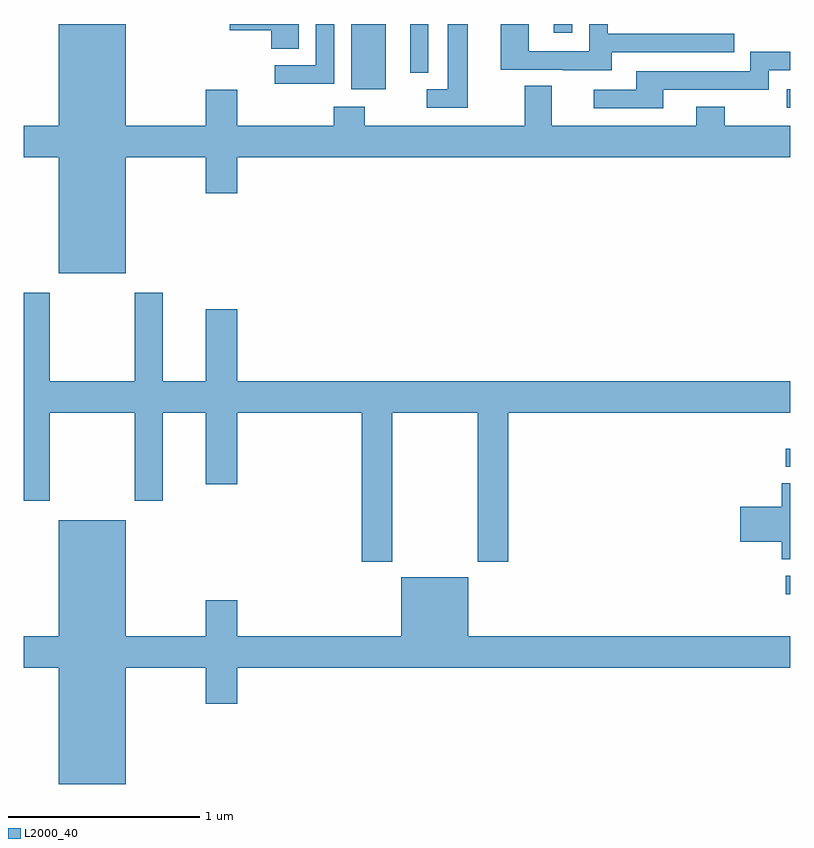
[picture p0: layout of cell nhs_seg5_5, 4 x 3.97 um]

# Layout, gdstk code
import gdstk
lib = gdstk.Library(unit=1e-6, precision=1e-09)
def R(c, l, rs):  # rectangles x0, y0, x1, y1
    for r in rs: c.add(gdstk.rectangle(r[:2], r[2:], *l))
def P(c, l, *ps):  # polygons
    for p in ps: c.add(gdstk.Polygon(p, *l))
L2000_40 = (2000, 40)

nhs_seg5_5 = lib.new_cell('nhs_seg5_5')
R(nhs_seg5_5, L2000_40, [(114.975,843.823,115,843.921), (114.975,844.488,115,844.584), (114.981,846.363,115,846.459), (112.709,846.458,112.888,846.799), (113.765,846.753,113.862,846.799)])
P(nhs_seg5_5, L2000_40, [(113.317,846.799),(113.213,846.799),(113.213,846.459),(113.103,846.459),(113.103,846.363),(113.317,846.363)],
  [(113.112,846.799),(113.018,846.799),(113.018,846.698),(113.016,846.698),(113.016,846.544),(113.112,846.544)],
  [(112.62,846.799),(112.524,846.799),(112.524,846.585),(112.311,846.585),(112.311,846.487),(112.62,846.487)],
  [(114.067,846.651),(114.707,846.651),(114.707,846.747),(114.048,846.747),(114.048,846.799),(113.952,846.799),(113.952,846.657),(113.634,846.657),(113.634,846.799),(113.489,846.799),(113.489,846.561),(113.813,846.561),(113.813,846.557),(114.067,846.557)],
  [(112.435,846.799),(112.074,846.799),(112.074,846.766),(112.292,846.766),(112.292,846.67),(112.435,846.67)],
  [(111.532,846.104),(111.95,846.104),(111.95,845.916),(112.114,845.916),(112.114,846.104),(115,846.104),(115,846.268),(114.657,846.268),(114.657,846.367),(114.509,846.367),(114.509,846.268),(113.755,846.268),(113.755,846.476),(113.615,846.476),(113.615,846.268),(112.779,846.268),(112.779,846.367),(112.619,846.367),(112.619,846.268),(112.114,846.268),(112.114,846.457),(111.95,846.457),(111.95,846.268),(111.532,846.268),(111.532,846.799),(111.182,846.799),(111.182,846.268),(111,846.268),(111,846.104),(111.182,846.104),(111.182,845.498),(111.532,845.498)],
  [(114.337,846.456),(114.888,846.456),(114.888,846.558),(115,846.558),(115,846.655),(114.792,846.655),(114.792,846.552),(114.197,846.552),(114.197,846.456),(113.973,846.456),(113.973,846.36),(114.337,846.36)],
  [(112.923,844.772),(113.368,844.772),(113.368,843.993),(113.528,843.993),(113.528,844.772),(115,844.772),(115,844.936),(112.114,844.936),(112.114,845.311),(111.95,845.311),(111.95,844.936),(111.727,844.936),(111.727,845.398),(111.58,845.398),(111.58,844.936),(111.135,844.936),(111.135,845.398),(111,845.398),(111,844.311),(111.135,844.311),(111.135,844.772),(111.58,844.772),(111.58,844.311),(111.727,844.311),(111.727,844.772),(111.95,844.772),(111.95,844.398),(112.114,844.398),(112.114,844.772),(112.763,844.772),(112.763,843.993),(112.923,843.993)],
  [(115,844.403),(114.956,844.403),(114.956,844.28),(114.738,844.28),(114.738,844.097),(114.956,844.097),(114.956,844.006),(115,844.006)],
  [(111.532,843.44),(111.95,843.44),(111.95,843.252),(112.114,843.252),(112.114,843.44),(115,843.44),(115,843.604),(113.32,843.604),(113.32,843.913),(112.97,843.913),(112.97,843.604),(112.114,843.604),(112.114,843.793),(111.95,843.793),(111.95,843.604),(111.532,843.604),(111.532,844.21),(111.182,844.21),(111.182,843.604),(111,843.604),(111,843.44),(111.182,843.44),(111.182,842.834),(111.532,842.834)])

lib.write_gds('nhs_seg5_5.gds')
